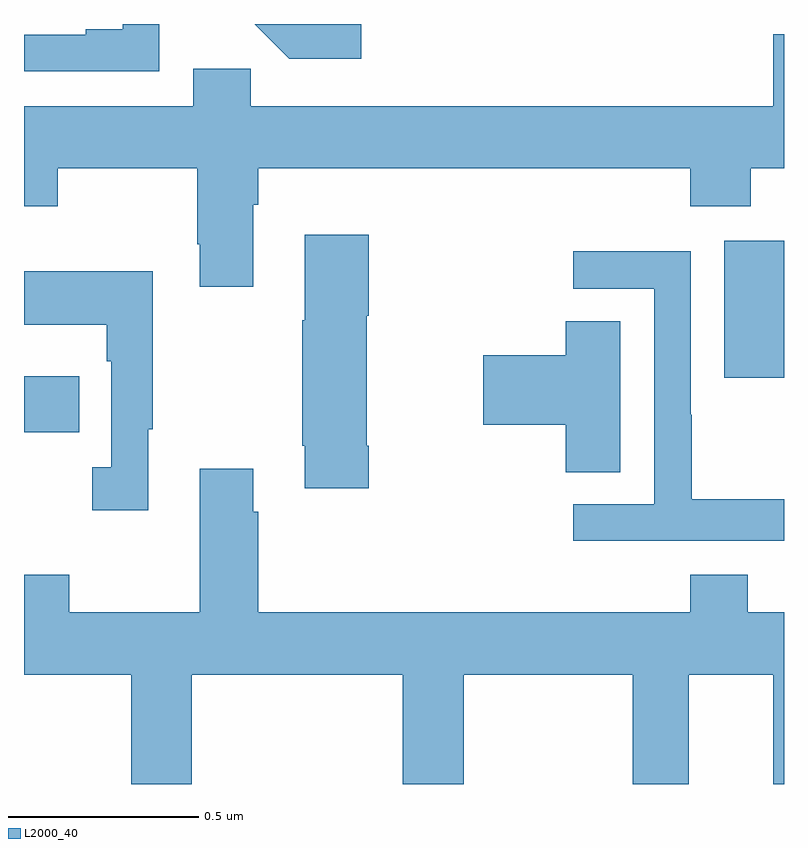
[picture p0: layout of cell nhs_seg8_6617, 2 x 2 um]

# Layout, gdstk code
import gdstk
lib = gdstk.Library(unit=1e-6, precision=1e-09)
def R(c, l, rs):  # rectangles x0, y0, x1, y1
    for r in rs: c.add(gdstk.rectangle(r[:2], r[2:], *l))
def P(c, l, *ps):  # polygons
    for p in ps: c.add(gdstk.Polygon(p, *l))
L2000_40 = (2000, 40)

nhs_seg8_6617 = lib.new_cell('nhs_seg8_6617')
R(nhs_seg8_6617, L2000_40, [(199,1095.826,199.145,1095.973), (200.843,1095.969,201,1096.33)])
P(nhs_seg8_6617, L2000_40, [(199.356,1096.9),(199.26,1096.9),(199.26,1096.886),(199.163,1096.886),(199.163,1096.872),(199,1096.872),(199,1096.776),(199.356,1096.776)],
  [(199.888,1096.9),(199.607,1096.9),(199.698,1096.809),(199.888,1096.809)],
  [(199.603,1096.424),(199.616,1096.424),(199.616,1096.52),(200.753,1096.52),(200.753,1096.421),(200.913,1096.421),(200.913,1096.52),(201,1096.52),(201,1096.873),(200.972,1096.873),(200.972,1096.684),(199.597,1096.684),(199.597,1096.782),(199.445,1096.782),(199.445,1096.684),(199,1096.684),(199,1096.421),(199.089,1096.421),(199.089,1096.52),(199.456,1096.52),(199.456,1096.321),(199.463,1096.321),(199.463,1096.209),(199.603,1096.209)],
  [(199.907,1095.79),(199.902,1095.79),(199.902,1096.132),(199.907,1096.132),(199.907,1096.345),(199.739,1096.345),(199.739,1096.121),(199.732,1096.121),(199.732,1095.79),(199.739,1095.79),(199.739,1095.678),(199.907,1095.678)],
  [(201,1095.649),(200.757,1095.649),(200.757,1095.872),(200.754,1095.872),(200.754,1096.302),(200.445,1096.302),(200.445,1096.203),(200.658,1096.203),(200.658,1095.636),(200.445,1095.636),(200.445,1095.54),(201,1095.54)],
  [(199.327,1095.833),(199.339,1095.833),(199.339,1096.249),(199,1096.249),(199,1096.109),(199.218,1096.109),(199.218,1096.013),(199.23,1096.013),(199.23,1095.734),(199.179,1095.734),(199.179,1095.621),(199.327,1095.621)],
  [(200.569,1096.118),(200.426,1096.118),(200.426,1096.028),(200.208,1096.028),(200.208,1095.845),(200.426,1095.845),(200.426,1095.721),(200.569,1095.721)],
  [(200.905,1095.451),(200.753,1095.451),(200.753,1095.352),(199.616,1095.352),(199.616,1095.617),(199.603,1095.617),(199.603,1095.73),(199.463,1095.73),(199.463,1095.352),(199.119,1095.352),(199.119,1095.451),(199,1095.451),(199,1095.188),(199.282,1095.188),(199.282,1094.9),(199.442,1094.9),(199.442,1095.188),(199.997,1095.188),(199.997,1094.9),(200.157,1094.9),(200.157,1095.188),(200.602,1095.188),(200.602,1094.9),(200.749,1094.9),(200.749,1095.188),(200.972,1095.188),(200.972,1094.9),(201,1094.9),(201,1095.352),(200.905,1095.352)])

lib.write_gds('nhs_seg8_6617.gds')
